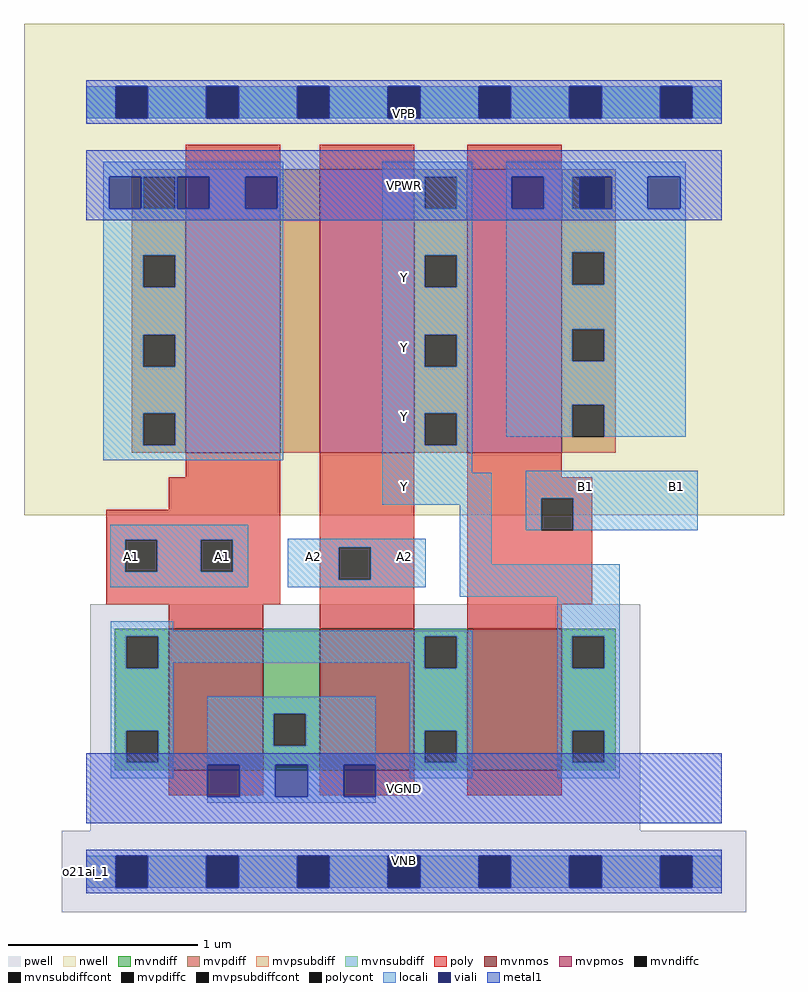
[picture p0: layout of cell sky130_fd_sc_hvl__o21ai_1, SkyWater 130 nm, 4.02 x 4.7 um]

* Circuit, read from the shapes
.subckt sky130_fd_sc_hvl__o21ai_1 A1 A2 B1 VGND VNB VPB VPWR Y
XM1 VGND A1 n1 VNB sky130_fd_pr__nfet_g5v0d10v5 w=0.75 l=0.5
XM2 n1 A2 VGND VNB sky130_fd_pr__nfet_g5v0d10v5 w=0.75 l=0.5
XM3 Y B1 n1 VNB sky130_fd_pr__nfet_g5v0d10v5 w=0.75 l=0.5
XM4 n2 A1 VPWR VPB sky130_fd_pr__pfet_g5v0d10v5 w=1.5 l=0.5
XM5 Y A2 n2 VPB sky130_fd_pr__pfet_g5v0d10v5 w=1.5 l=0.5
XM6 VPWR B1 Y VPB sky130_fd_pr__pfet_g5v0d10v5 w=1.5 l=0.5
.ends

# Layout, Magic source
magic
tech sky130A
magscale 1 2
<< nwell >>
rect -66 377 738 897
<< pwell >>
rect 4 43 586 283
rect -26 -43 698 43
<< mvnmos >>
rect 87 107 187 257
rect 247 107 347 257
rect 403 107 503 257
<< mvpmos >>
rect 105 443 205 743
rect 247 443 347 743
rect 403 443 503 743
<< mvndiff >>
rect 30 249 87 257
rect 30 215 42 249
rect 76 215 87 249
rect 30 149 87 215
rect 30 115 42 149
rect 76 115 87 149
rect 30 107 87 115
rect 187 167 247 257
rect 187 133 198 167
rect 232 133 247 167
rect 187 107 247 133
rect 347 249 403 257
rect 347 215 358 249
rect 392 215 403 249
rect 347 149 403 215
rect 347 115 358 149
rect 392 115 403 149
rect 347 107 403 115
rect 503 249 560 257
rect 503 215 514 249
rect 548 215 560 249
rect 503 149 560 215
rect 503 115 514 149
rect 548 115 560 149
rect 503 107 560 115
<< mvpdiff >>
rect 48 735 105 743
rect 48 701 60 735
rect 94 701 105 735
rect 48 652 105 701
rect 48 618 60 652
rect 94 618 105 652
rect 48 568 105 618
rect 48 534 60 568
rect 94 534 105 568
rect 48 485 105 534
rect 48 451 60 485
rect 94 451 105 485
rect 48 443 105 451
rect 205 443 247 743
rect 347 735 403 743
rect 347 701 358 735
rect 392 701 403 735
rect 347 652 403 701
rect 347 618 358 652
rect 392 618 403 652
rect 347 568 403 618
rect 347 534 358 568
rect 392 534 403 568
rect 347 485 403 534
rect 347 451 358 485
rect 392 451 403 485
rect 347 443 403 451
rect 503 735 560 743
rect 503 701 514 735
rect 548 701 560 735
rect 503 655 560 701
rect 503 621 514 655
rect 548 621 560 655
rect 503 574 560 621
rect 503 540 514 574
rect 548 540 560 574
rect 503 494 560 540
rect 503 460 514 494
rect 548 460 560 494
rect 503 443 560 460
<< mvndiffc >>
rect 42 215 76 249
rect 42 115 76 149
rect 198 133 232 167
rect 358 215 392 249
rect 358 115 392 149
rect 514 215 548 249
rect 514 115 548 149
<< mvpdiffc >>
rect 60 701 94 735
rect 60 618 94 652
rect 60 534 94 568
rect 60 451 94 485
rect 358 701 392 735
rect 358 618 392 652
rect 358 534 392 568
rect 358 451 392 485
rect 514 701 548 735
rect 514 621 548 655
rect 514 540 548 574
rect 514 460 548 494
<< mvpsubdiff >>
rect 0 -17 31 17
rect 65 -17 127 17
rect 161 -17 223 17
rect 257 -17 319 17
rect 353 -17 415 17
rect 449 -17 511 17
rect 545 -17 607 17
rect 641 -17 672 17
<< mvnsubdiff >>
rect 0 797 31 831
rect 65 797 127 831
rect 161 797 223 831
rect 257 797 319 831
rect 353 797 415 831
rect 449 797 511 831
rect 545 797 607 831
rect 641 797 672 831
<< mvpsubdiffcont >>
rect 31 -17 65 17
rect 127 -17 161 17
rect 223 -17 257 17
rect 319 -17 353 17
rect 415 -17 449 17
rect 511 -17 545 17
rect 607 -17 641 17
<< mvnsubdiffcont >>
rect 31 797 65 831
rect 127 797 161 831
rect 223 797 257 831
rect 319 797 353 831
rect 415 797 449 831
rect 511 797 545 831
rect 607 797 641 831
<< poly >>
rect 105 743 205 769
rect 247 743 347 769
rect 403 743 503 769
rect 105 417 205 443
rect 87 383 205 417
rect 21 351 205 383
rect 21 317 41 351
rect 75 317 121 351
rect 155 317 205 351
rect 21 283 205 317
rect 247 343 347 443
rect 247 309 267 343
rect 301 309 347 343
rect 87 257 187 283
rect 247 257 347 309
rect 403 417 503 443
rect 403 395 535 417
rect 403 361 481 395
rect 515 361 535 395
rect 403 283 535 361
rect 403 257 503 283
rect 87 81 187 107
rect 247 81 347 107
rect 403 81 503 107
<< polycont >>
rect 41 317 75 351
rect 121 317 155 351
rect 267 309 301 343
rect 481 361 515 395
<< locali >>
rect 0 797 31 831
rect 65 797 127 831
rect 161 797 223 831
rect 257 797 319 831
rect 353 797 415 831
rect 449 797 511 831
rect 545 797 607 831
rect 641 797 672 831
rect 18 735 208 751
rect 18 701 24 735
rect 58 701 60 735
rect 94 701 96 735
rect 130 701 168 735
rect 202 701 208 735
rect 18 652 208 701
rect 18 618 60 652
rect 94 618 208 652
rect 18 568 208 618
rect 18 534 60 568
rect 94 534 208 568
rect 18 485 208 534
rect 18 451 60 485
rect 94 451 208 485
rect 18 435 208 451
rect 313 735 408 751
rect 313 701 358 735
rect 392 701 408 735
rect 313 652 408 701
rect 313 618 358 652
rect 392 618 408 652
rect 313 568 408 618
rect 313 534 358 568
rect 392 534 408 568
rect 313 485 408 534
rect 313 451 358 485
rect 392 451 408 485
rect 444 735 634 751
rect 444 701 450 735
rect 484 701 514 735
rect 556 701 594 735
rect 628 701 634 735
rect 444 655 634 701
rect 444 621 514 655
rect 548 621 634 655
rect 444 574 634 621
rect 444 540 514 574
rect 548 540 634 574
rect 444 494 634 540
rect 444 460 514 494
rect 548 460 634 494
rect 313 422 408 451
rect 313 388 429 422
rect 25 351 171 367
rect 25 317 41 351
rect 75 317 121 351
rect 155 317 171 351
rect 25 301 171 317
rect 213 343 359 352
rect 213 309 267 343
rect 301 309 359 343
rect 213 301 359 309
rect 395 325 429 388
rect 465 395 647 424
rect 465 361 481 395
rect 515 361 647 395
rect 395 291 564 325
rect 26 255 92 265
rect 26 249 408 255
rect 26 215 42 249
rect 76 221 358 249
rect 76 215 92 221
rect 26 149 92 215
rect 342 215 358 221
rect 392 215 408 249
rect 26 115 42 149
rect 76 115 92 149
rect 26 99 92 115
rect 128 167 306 185
rect 128 133 198 167
rect 232 133 306 167
rect 128 113 306 133
rect 162 79 200 113
rect 234 79 272 113
rect 342 149 408 215
rect 342 115 358 149
rect 392 115 408 149
rect 342 99 408 115
rect 498 249 564 291
rect 498 215 514 249
rect 548 215 564 249
rect 498 149 564 215
rect 498 115 514 149
rect 548 115 564 149
rect 498 99 564 115
rect 128 73 306 79
rect 0 -17 31 17
rect 65 -17 127 17
rect 161 -17 223 17
rect 257 -17 319 17
rect 353 -17 415 17
rect 449 -17 511 17
rect 545 -17 607 17
rect 641 -17 672 17
<< viali >>
rect 31 797 65 831
rect 127 797 161 831
rect 223 797 257 831
rect 319 797 353 831
rect 415 797 449 831
rect 511 797 545 831
rect 607 797 641 831
rect 24 701 58 735
rect 96 701 130 735
rect 168 701 202 735
rect 450 701 484 735
rect 522 701 548 735
rect 548 701 556 735
rect 594 701 628 735
rect 128 79 162 113
rect 200 79 234 113
rect 272 79 306 113
rect 31 -17 65 17
rect 127 -17 161 17
rect 223 -17 257 17
rect 319 -17 353 17
rect 415 -17 449 17
rect 511 -17 545 17
rect 607 -17 641 17
<< metal1 >>
rect 0 831 672 837
rect 0 797 31 831
rect 65 797 127 831
rect 161 797 223 831
rect 257 797 319 831
rect 353 797 415 831
rect 449 797 511 831
rect 545 797 607 831
rect 641 797 672 831
rect 0 791 672 797
rect 0 735 672 763
rect 0 701 24 735
rect 58 701 96 735
rect 130 701 168 735
rect 202 701 450 735
rect 484 701 522 735
rect 556 701 594 735
rect 628 701 672 735
rect 0 689 672 701
rect 0 113 672 125
rect 0 79 128 113
rect 162 79 200 113
rect 234 79 272 113
rect 306 79 672 113
rect 0 51 672 79
rect 0 17 672 23
rect 0 -17 31 17
rect 65 -17 127 17
rect 161 -17 223 17
rect 257 -17 319 17
rect 353 -17 415 17
rect 449 -17 511 17
rect 545 -17 607 17
rect 641 -17 672 17
rect 0 -23 672 -17
<< labels >>
rlabel comment s 0 0 0 0 4 o21ai_1
flabel metal1 s 0 51 672 125 0 FreeSans 340 0 0 0 VGND
port 4 nsew ground bidirectional
flabel metal1 s 0 0 672 23 0 FreeSans 340 0 0 0 VNB
port 5 nsew ground bidirectional
flabel metal1 s 0 689 672 763 0 FreeSans 340 0 0 0 VPWR
port 7 nsew power bidirectional
flabel metal1 s 0 791 672 814 0 FreeSans 340 0 0 0 VPB
port 6 nsew power bidirectional
flabel locali s 31 316 65 350 0 FreeSans 340 0 0 0 A1
port 1 nsew signal input
flabel locali s 127 316 161 350 0 FreeSans 340 0 0 0 A1
port 1 nsew signal input
flabel locali s 223 316 257 350 0 FreeSans 340 0 0 0 A2
port 2 nsew signal input
flabel locali s 319 316 353 350 0 FreeSans 340 0 0 0 A2
port 2 nsew signal input
flabel locali s 511 390 545 424 0 FreeSans 340 0 0 0 B1
port 3 nsew signal input
flabel locali s 607 390 641 424 0 FreeSans 340 0 0 0 B1
port 3 nsew signal input
flabel locali s 319 390 353 424 0 FreeSans 340 0 0 0 Y
port 8 nsew signal output
flabel locali s 319 464 353 498 0 FreeSans 340 0 0 0 Y
port 8 nsew signal output
flabel locali s 319 538 353 572 0 FreeSans 340 0 0 0 Y
port 8 nsew signal output
flabel locali s 319 612 353 646 0 FreeSans 340 0 0 0 Y
port 8 nsew signal output
<< properties >>
string FIXED_BBOX 0 0 672 814
string GDS_END 407940
string GDS_FILE $PDKPATH/libs.ref/sky130_fd_sc_hvl/gds/sky130_fd_sc_hvl.gds
string GDS_START 398986
string LEFclass CORE
string LEFsite unithv
string LEFsymmetry X Y
<< end >>
